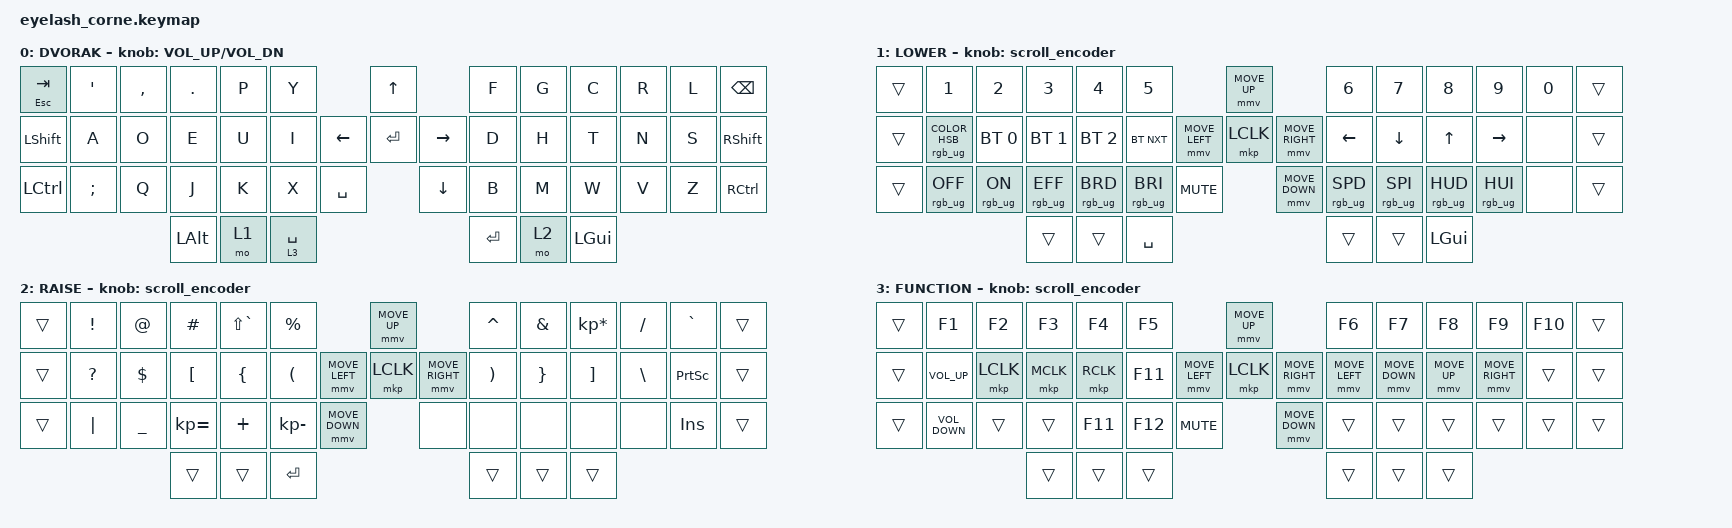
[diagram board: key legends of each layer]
#define ZMK_POINTING_DEFAULT_MOVE_VAL 1200  // 600
#define ZMK_POINTING_DEFAULT_SCRL_VAL 25   // 10

#include <input/processors.dtsi>
#include <zephyr/dt-bindings/input/input-event-codes.h>
#include <behaviors.dtsi>
#include <dt-bindings/zmk/bt.h>
#include <dt-bindings/zmk/keys.h>
#include <dt-bindings/zmk/pointing.h>
#include <dt-bindings/zmk/rgb.h>

&mmv_input_listener { input-processors = <&zip_xy_scaler 2 1>; };

&msc_input_listener { input-processors = <&zip_scroll_scaler 2 1>; };

&msc {
    acceleration-exponent = <1>;      // 0
    time-to-max-speed-ms = <100>;       // 300
    delay-ms = <0>;                   // 0
};

&mmv {
    time-to-max-speed-ms = <1000>;
    acceleration-exponent = <1>;
    trigger-period-ms = <16>;
};

&soft_off { hold-time-ms = <2000>; };

/ {
    behaviors {
        td0: td0 {
            compatible = "zmk,behavior-tap-dance";
            display-name = "Shift/Caps Lock Tap Dance";
            #binding-cells = <0>;
            bindings = <&kp LEFT_SHIFT>, <&kp CAPS>;
        };
    };

    rgb_encoder: rgb_encoder {
        compatible = "zmk,behavior-sensor-rotate";
        #sensor-binding-cells = <0>;
        bindings = <&rgb_ug RGB_BRI>, <&rgb_ug RGB_BRD>;
    };

    scroll_encoder: scroll_encoder {
        compatible = "zmk,behavior-sensor-rotate";
        #sensor-binding-cells = <0>;
        bindings = <&msc SCRL_DOWN>, <&msc SCRL_UP>;

        tap-ms = <100>;
    };

    combos {
        compatible = "zmk,combos";

        softoff {
            bindings = <&soft_off>;
            key-positions = <1 15 29>;
        };
    };

    keymap {
        compatible = "zmk,keymap";

        default_layer {
            display-name = "DVORAK";
            bindings = <
&mt ESCAPE TAB    &kp APOS       &kp COMMA  &kp PERIOD    &kp P  &kp Y                               &kp UP                &kp F      &kp G  &kp C           &kp R  &kp L  &kp BSPC
&kp LEFT_SHIFT    &kp A          &kp O      &kp E         &kp U  &kp I                     &kp LEFT  &kp ENTER  &kp RIGHT  &kp D      &kp H  &kp T           &kp N  &kp S  &kp RIGHT_SHIFT
&kp LEFT_CONTROL  &kp SEMICOLON  &kp Q      &kp J         &kp K  &kp X        &kp SPACE              &kp DOWN              &kp B      &kp M  &kp W           &kp V  &kp Z  &kp RIGHT_CONTROL
                                            &kp LEFT_ALT  &mo 1  &lt 3 SPACE                                               &kp ENTER  &mo 2  &kp LEFT_GUI
            >;

            sensor-bindings = <&inc_dec_kp C_VOLUME_UP C_VOL_DN>;
        };

        lower_layer {
            display-name = "LOWER";
            bindings = <
&trans  &kp N1                            &kp N2          &kp N3           &kp N4           &kp N5                                         &mmv MOVE_UP                     &kp N6           &kp N7           &kp N8           &kp N9           &kp N0  &trans
&trans  &rgb_ug RGB_COLOR_HSB(194,0,100)  &bt BT_SEL 0    &bt BT_SEL 1     &bt BT_SEL 2     &bt BT_NXT                     &mmv MOVE_LEFT  &mkp LCLK       &mmv MOVE_RIGHT  &kp LEFT         &kp DOWN         &kp UP           &kp RIGHT        &none   &trans
&trans  &rgb_ug RGB_OFF                   &rgb_ug RGB_ON  &rgb_ug RGB_EFF  &rgb_ug RGB_BRD  &rgb_ug RGB_BRI  &kp C_MUTE                    &mmv MOVE_DOWN                   &rgb_ug RGB_SPD  &rgb_ug RGB_SPI  &rgb_ug RGB_HUD  &rgb_ug RGB_HUI  &none   &trans
                                                          &trans           &trans           &kp SPACE                                                                       &trans           &trans           &kp LEFT_GUI
            >;

            sensor-bindings = <&scroll_encoder>;
        };

        raise_layer {
            display-name = "RAISE";
            bindings = <
&trans  &kp EXCL      &kp AT      &kp HASH          &kp LS(GRAVE)   &kp PRCNT                                               &mmv MOVE_UP                   &kp CARET              &kp AMPS         &kp KP_MULTIPLY    &kp SLASH      &kp GRAVE        &trans
&trans  &kp QUESTION  &kp DOLLAR  &kp LEFT_BRACKET  &kp LEFT_BRACE  &kp LEFT_PARENTHESIS                    &mmv MOVE_LEFT  &mkp LCLK     &mmv MOVE_RIGHT  &kp RIGHT_PARENTHESIS  &kp RIGHT_BRACE  &kp RIGHT_BRACKET  &kp BACKSLASH  &kp PRINTSCREEN  &trans
&trans  &kp PIPE      &kp UNDER   &kp KP_EQUAL      &kp PLUS        &kp KP_MINUS          &mmv MOVE_DOWN                    &none                          &none                  &none            &none              &none          &kp INSERT       &trans
                                  &trans            &trans          &kp RET                                                                                &trans                 &trans           &trans
            >;

            sensor-bindings = <&scroll_encoder>;
        };

        layer_3 {
            display-name = "FUNCTION";
            bindings = <
&trans  &kp F1             &kp F2     &kp F3     &kp F4     &kp F5                                 &mmv MOVE_UP                     &kp F6          &kp F7          &kp F8        &kp F9           &kp F10  &trans
&trans  &kp C_VOLUME_UP    &mkp LCLK  &mkp MCLK  &mkp RCLK  &kp F11                &mmv MOVE_LEFT  &mkp LCLK       &mmv MOVE_RIGHT  &mmv MOVE_LEFT  &mmv MOVE_DOWN  &mmv MOVE_UP  &mmv MOVE_RIGHT  &trans   &trans
&trans  &kp C_VOLUME_DOWN  &trans     &trans     &kp F11    &kp F12  &kp C_MUTE                    &mmv MOVE_DOWN                   &trans          &trans          &trans        &trans           &trans   &trans
                                      &trans     &trans     &trans                                                                  &trans          &trans          &trans
            >;

            sensor-bindings = <&scroll_encoder>;
        };
    };
};
